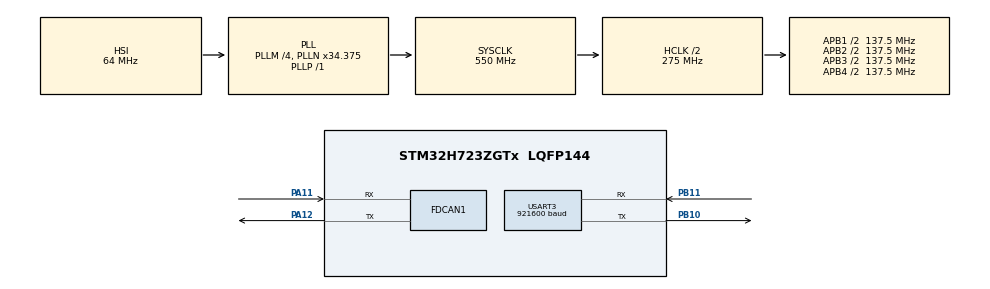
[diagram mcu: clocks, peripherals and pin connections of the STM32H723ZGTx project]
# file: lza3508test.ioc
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CORTEX_M7.default_mode_Activation=1
FDCAN1.CalculateBaudRateNominal=999999
FDCAN1.CalculateTimeBitNominal=1000
FDCAN1.CalculateTimeQuantumNominal=41.66666666666667
FDCAN1.NominalPrescaler=5
FDCAN1.NominalTimeSeg1=11
FDCAN1.NominalTimeSeg2=12
FDCAN1.RxBuffersNbr=8
FDCAN1.RxFifo0ElmtsNbr=8
FDCAN1.RxFifo1ElmtsNbr=8
FDCAN1.StdFiltersNbr=8
FDCAN1.TxFifoQueueElmtsNbr=8
Mcu.Family=STM32H7
Mcu.Name=STM32H723ZGTx
Mcu.Package=LQFP144
NVIC.PriorityGroup=NVIC_PRIORITYGROUP_4
NVIC.TIM1_UP_IRQn=true\:0\:0\:false\:false\:true\:true\:true\:true
NVIC.TIM2_IRQn=true\:0\:0\:false\:false\:true\:true\:true\:true
NVIC.USART3_IRQn=true\:0\:0\:false\:false\:true\:true\:true\:true
PA11.Mode=FDCAN_Activate
PA11.Signal=FDCAN1_RX
PA12.Mode=FDCAN_Activate
PA12.Signal=FDCAN1_TX
PA13(JTMS/SWDIO).Mode=Serial_Wire
PA13(JTMS/SWDIO).Signal=DEBUG_JTMS-SWDIO
PA14(JTCK/SWCLK).Mode=Serial_Wire
PA14(JTCK/SWCLK).Signal=DEBUG_JTCK-SWCLK
PB10.Mode=Asynchronous
PB10.Signal=USART3_TX
PB11.Mode=Asynchronous
PB11.Signal=USART3_RX
PC14-OSC32_IN.Mode=LSE-External-Oscillator
PC14-OSC32_IN.Signal=RCC_OSC32_IN
PC15-OSC32_OUT.Mode=LSE-External-Oscillator
PC15-OSC32_OUT.Signal=RCC_OSC32_OUT
PH0-OSC_IN.Mode=HSE-External-Oscillator
PH0-OSC_IN.Signal=RCC_OSC_IN
PH1-OSC_OUT.Mode=HSE-External-Oscillator
PH1-OSC_OUT.Signal=RCC_OSC_OUT
ProjectManager.HeapSize=0x200
ProjectManager.StackSize=0x400
ProjectManager.TargetToolchain=CMake
RCC.ADCFreq_Value=120000000
RCC.APB1Freq_Value=137500000
RCC.APB2Freq_Value=137500000
RCC.APB3Freq_Value=137500000
RCC.APB4Freq_Value=137500000
RCC.CortexFreq_Value=550000000
RCC.D1PPRE=RCC_APB3_DIV2
RCC.D2PPRE1=RCC_APB1_DIV2
RCC.D2PPRE2=RCC_APB2_DIV2
RCC.D3PPRE=RCC_APB4_DIV2
RCC.DIVM1=4
RCC.DIVN1=34
RCC.DIVN2=120
RCC.DIVP1=1
RCC.DIVQ1=4
RCC.FDCANCLockSelection=RCC_FDCANCLKSOURCE_PLL2
RCC.HCLKFreq_Value=275000000
RCC.HPRE=RCC_HCLK_DIV2
RCC.PLL2FRACN=0
RCC.PLL3FRACN=0
RCC.PLLFRACN=3072
RCC.SYSCLKFreq_VALUE=550000000
RCC.SYSCLKSource=RCC_SYSCLKSOURCE_PLLCLK
RCC.USBFreq_Value=137500000
TIM1.Period=1000 - 1
TIM1.Prescaler=275 - 1
TIM2.Period=2000 - 1
TIM2.Prescaler=275 - 1
USART3.BaudRate=921600
USART3.VirtualMode-Asynchronous=VM_ASYNC
VP_MEMORYMAP_VS_MEMORYMAP.Mode=CurAppReg
VP_TIM1_VS_ClockSourceINT.Mode=Internal
VP_TIM2_VS_ClockSourceINT.Mode=Internal
board=custom

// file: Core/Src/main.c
/* USER CODE BEGIN Header */
/**
  ******************************************************************************
  * @file           : main.c
  * @brief          : Main program body
  ******************************************************************************
  * @attention
  *
  * Copyright (c) 2026 STMicroelectronics.
  * All rights reserved.
  *
  * This software is licensed under terms that can be found in the LICENSE file
  * in the root directory of this software component.
  * If no LICENSE file comes with this software, it is provided AS-IS.
  *
  ******************************************************************************
  */
/* USER CODE END Header */
#include "main.h"
#include "fdcan.h"
#include "stm32h723xx.h"
#include "tim.h"
#include "usart.h"
#include "gpio.h"

/* USER CODE BEGIN Includes */

#include "m3508_driver.h"
#include <stdio.h>

/* USER CODE END Includes */

/* USER CODE BEGIN PV */

double target_rpm[8] = {0}; // 创建一个数据数组
volatile uint8_t tim_flag_setcur = 0; // 定时器标志位
volatile uint8_t tim_flag_pidupdate = 0; // 定时器标志位
M3508_CAN_All m3508_can_1;
char vofa_buf[64]; // VOFA帧缓冲

/* USER CODE END PV */

void SystemClock_Config(void);
static void MPU_Config(void);

/* USER CODE BEGIN 0 */

void HAL_TIM_PeriodElapsedCallback(TIM_HandleTypeDef *htim) {
    if (htim->Instance == TIM1) { // 检查是否为定时器1的中断
        tim_flag_setcur = 1; // 设置定时器标志位
    }
    else if (htim->Instance ==  TIM2) {
        tim_flag_pidupdate = 1;
    }
}

// VOFA+ FireWater 遥测发送（每5个控制周期调用一次）
void VOFA_Send(void) {
    /* 上一帧 DMA 还没发完就跳过，防止覆盖正在发送的缓冲 */

    int len = sprintf(vofa_buf, "%d,%d,%d,%d,%d\n",
        (int)m3508_can_1.motors[5].position_pid.target,  // 预期位置
        (int)m3508_can_1.motors[5].position,             // 当前位置
        (int)m3508_can_1.motors[5].speed_pid.target,     // 预期速度（RPM）
        (int)m3508_can_1.motors[5].speed_pid.iir_filter.filter_status,
        (int)m3508_can_1.motors[5].current
      );               // 当前速度

    HAL_UART_Transmit_IT(&huart3, (uint8_t *)vofa_buf, len);
}

/* USER CODE END 0 */

int main(void)
{

  /* MPU Configuration--------------------------------------------------------*/
  MPU_Config();

  /* MCU Configuration--------------------------------------------------------*/

  /* Reset of all peripherals, Initializes the Flash interface and the Systick. */
  HAL_Init();

  /* Configure the system clock */
  SystemClock_Config();

  /* Initialize all configured peripherals */
  MX_GPIO_Init();
  MX_USART3_UART_Init();
  MX_FDCAN1_Init();
  MX_TIM1_Init();
  MX_TIM2_Init();
  /* USER CODE BEGIN 2 */

  /* 注意：MX_USART3_UART_Init 必须保持在 MX_FDCAN1_Init 之前！
     USART3 的 MspInit（内核时钟选择+DMA 配置）若在 FDCAN 初始化之后执行，
     会扰动已配置好的 FDCAN，导致收不到电机反馈、电机飞转。
     CubeMX 重新生成后请检查初始化顺序是否被打乱！ */
  HAL_TIM_Base_Start_IT(&htim1); // 启动定时器1中断
  HAL_TIM_Base_Start_IT(&htim2); // 启动定时器2中断
  // PID初始化和CAN初始化
  M3508_CAN_Init(&m3508_can_1, (1 << 5), &hfdcan1); // 【串口单独测试】临时注释
  M3508_SpeedPID_Init(&m3508_can_1, 4, 2, 0.02, 0.002);
  M3508_PositionPID_Init(&m3508_can_1, 3.5, 0.05, 0.02, 0.002);
  // 设置限幅
  M3508_PID_SetIntLim(&m3508_can_1.motors[5], M3508_SPEEDPID_MODE, 400);  // 速度环限幅（RPM·s）
  M3508_PID_SetIntLim(&m3508_can_1.motors[5], M3508_POSITIONPID_MODE, 500);  // 位置环限幅（计数·s）
  // 设置滤波参数
  M3508_IIRFilter_SetAlpha(&m3508_can_1.motors[5], M3508_SPEEDPID_MODE, 0.8);
  M3508_IIRFilter_SetAlpha(&m3508_can_1.motors[5], M3508_POSITIONPID_MODE, 1);

  target_rpm[5] = 0;
  // 设置目标位置（串级下内环速度目标由位置环输出给出，不再手动设置速度目标）
  // M3508_SetSpeedTarget(&m3508_can_1, target_rpm);
  M3508_SetPositionTarget(&m3508_can_1, target_rpm);
  // 设置模式
  M3508_PIDMode_Switch(&m3508_can_1.motors[5], M3508_CASCADE_MODE); // 串级模式测试
  m3508_can_1.motors[5].max_speed = 350;  // 串级内环速度限幅（RPM）

  HAL_FDCAN_Start(&hfdcan1); // 启动FDCAN模块 【串口单独测试】临时注释

  /* USER CODE END 2 */

  /* Infinite loop */
  /* USER CODE BEGIN WHILE */
  while (1)
  {
    if (tim_flag_pidupdate) { // 检查定时器标志位
      tim_flag_pidupdate = 0; // 清除标志位

      static uint8_t pos_init = 0;
      if (!pos_init) {  // 首拍：位置目标吸附到当前位置，避免初始误差跳变
        pos_init = 1;
        target_rpm[5] = m3508_can_1.motors[5].position;
      }
      // VOFA_Send();
      M3508_PID_Update(&m3508_can_1); // 【串口单独测试】临时注释

    }
    if (tim_flag_setcur) {
      tim_flag_setcur = 0;
      target_rpm[5] += 20;  // 位置目标每拍递增 45 计数（≈330 RPM 当量）
      if (target_rpm[5] > M3508_ENCODER_RESOLUTION) {
        target_rpm[5] -= M3508_ENCODER_RESOLUTION;
      }
      M3508_SetPositionTarget(&m3508_can_1, target_rpm);
      M3508_CAN_CurrentUpdate(&m3508_can_1);
    }
    /* USER CODE END WHILE */

  }
}

void SystemClock_Config(void)
{
  RCC_OscInitTypeDef RCC_OscInitStruct = {0};
  RCC_ClkInitTypeDef RCC_ClkInitStruct = {0};

  /** Supply configuration update enable
  */
  HAL_PWREx_ConfigSupply(PWR_LDO_SUPPLY);

  /** Configure the main internal regulator output voltage
  */
  __HAL_PWR_VOLTAGESCALING_CONFIG(PWR_REGULATOR_VOLTAGE_SCALE0);

  while(!__HAL_PWR_GET_FLAG(PWR_FLAG_VOSRDY)) {}

  /** Initializes the RCC Oscillators according to the specified parameters
  * in the RCC_OscInitTypeDef structure.
  */
  RCC_OscInitStruct.OscillatorType = RCC_OSCILLATORTYPE_HSI;
  RCC_OscInitStruct.HSIState = RCC_HSI_DIV1;
  RCC_OscInitStruct.HSICalibrationValue = 64;
  RCC_OscInitStruct.PLL.PLLState = RCC_PLL_ON;
  RCC_OscInitStruct.PLL.PLLSource = RCC_PLLSOURCE_HSI;
  RCC_OscInitStruct.PLL.PLLM = 4;
  RCC_OscInitStruct.PLL.PLLN = 34;
  RCC_OscInitStruct.PLL.PLLP = 1;
  RCC_OscInitStruct.PLL.PLLQ = 4;
  RCC_OscInitStruct.PLL.PLLR = 2;
  RCC_OscInitStruct.PLL.PLLRGE = RCC_PLL1VCIRANGE_3;
  RCC_OscInitStruct.PLL.PLLVCOSEL = RCC_PLL1VCOWIDE;
  RCC_OscInitStruct.PLL.PLLFRACN = 3072;
  if (HAL_RCC_OscConfig(&RCC_OscInitStruct) != HAL_OK)
  {
    Error_Handler();
  }

  /** Initializes the CPU, AHB and APB buses clocks
  */
  RCC_ClkInitStruct.ClockType = RCC_CLOCKTYPE_HCLK|RCC_CLOCKTYPE_SYSCLK
                              |RCC_CLOCKTYPE_PCLK1|RCC_CLOCKTYPE_PCLK2
                              |RCC_CLOCKTYPE_D3PCLK1|RCC_CLOCKTYPE_D1PCLK1;
  RCC_ClkInitStruct.SYSCLKSource = RCC_SYSCLKSOURCE_PLLCLK;
  RCC_ClkInitStruct.SYSCLKDivider = RCC_SYSCLK_DIV1;
  RCC_ClkInitStruct.AHBCLKDivider = RCC_HCLK_DIV2;
  RCC_ClkInitStruct.APB3CLKDivider = RCC_APB3_DIV2;
  RCC_ClkInitStruct.APB1CLKDivider = RCC_APB1_DIV2;
  RCC_ClkInitStruct.APB2CLKDivider = RCC_APB2_DIV2;
  RCC_ClkInitStruct.APB4CLKDivider = RCC_APB4_DIV2;

  if (HAL_RCC_ClockConfig(&RCC_ClkInitStruct, FLASH_LATENCY_3) != HAL_OK)
  {
    Error_Handler();
  }
}

 /* MPU Configuration */

void MPU_Config(void)
{
  MPU_Region_InitTypeDef MPU_InitStruct = {0};

  /* Disables the MPU */
  HAL_MPU_Disable();

  /** Initializes and configures the Region and the memory to be protected
  */
  MPU_InitStruct.Enable = MPU_REGION_ENABLE;
  MPU_InitStruct.Number = MPU_REGION_NUMBER0;
  MPU_InitStruct.BaseAddress = 0x0;
  MPU_InitStruct.Size = MPU_REGION_SIZE_4GB;
  MPU_InitStruct.SubRegionDisable = 0x87;
  MPU_InitStruct.TypeExtField = MPU_TEX_LEVEL0;
  MPU_InitStruct.AccessPermission = MPU_REGION_NO_ACCESS;
  MPU_InitStruct.DisableExec = MPU_INSTRUCTION_ACCESS_DISABLE;
  MPU_InitStruct.IsShareable = MPU_ACCESS_SHAREABLE;
  MPU_InitStruct.IsCacheable = MPU_ACCESS_NOT_CACHEABLE;
  MPU_InitStruct.IsBufferable = MPU_ACCESS_NOT_BUFFERABLE;

  HAL_MPU_ConfigRegion(&MPU_InitStruct);
  /* Enables the MPU */
  HAL_MPU_Enable(MPU_PRIVILEGED_DEFAULT);

}

void Error_Handler(void)
{
  __disable_irq();
  while (1)
  {
  }
}
